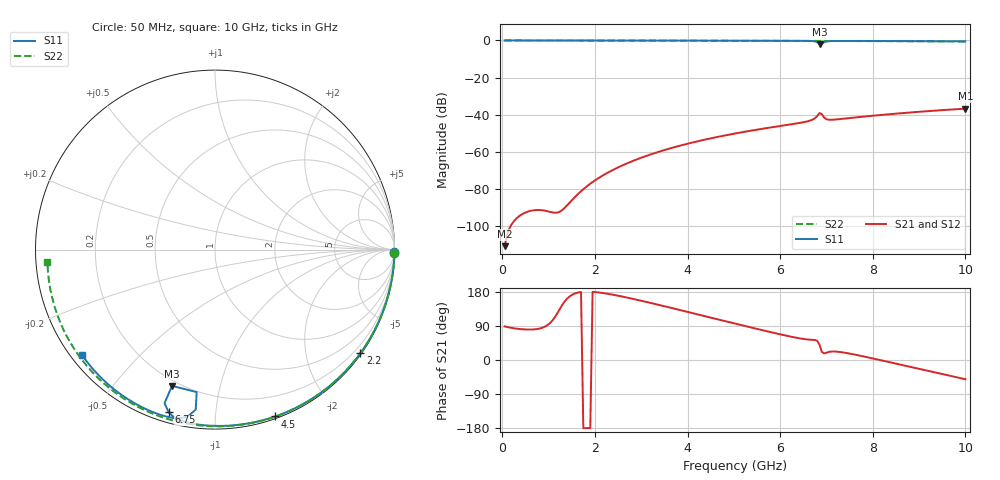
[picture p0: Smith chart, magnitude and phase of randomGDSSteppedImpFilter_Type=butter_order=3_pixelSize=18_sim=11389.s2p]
! freq	dB(S11)	phase(S11)	dB(S12)	phase(S12)
!  dB(S21)	phase(S21)	dB(S22)	phase(S22)
!S-par simulation data
#  GHz  S  DB  R 50
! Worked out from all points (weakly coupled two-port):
!   200 points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, 50 MHz to 10 GHz, reference 50 ohm
!   highest |S21| = -36.81 dB at 10 GHz (marker M1); lowest = -111.0 dB at 50 MHz (marker M2)
!   lowest |S11| = -2.0 dB at 6.85 GHz (marker M3), VSWR 8.81, Z = 8.66 - j35.9 ohm
!   |S11| at or under -10 dB: nowhere
!   |S22| runs from -0.6 to 0.0 dB; largest |S21 - S12| = 0
!   S11 on the Smith chart (normalised r, x): 50 MHz: open; 2.2 GHz: 0.03, -3.13; 4.5 GHz: 0.02, -1.42; 6.75 GHz: 0.05, -0.75; 10 GHz: 0.03, -0.35
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0.05  -0.00 -0.8  -111.02 88.6  -111.02 88.6  -0.00 -1.0
0.85  -0.02 -13.9  -91.61 84.5  -91.61 84.5  -0.02 -17.1
1.75  -0.04 -28.3  -80.28 -179.9  -80.28 -179.9  -0.04 -34.8
2.2  -0.05 -35.5  -72.44 176.2  -72.44 176.2  -0.06 -43.4
2.75  -0.06 -44.0  -65.73 163.3  -65.73 163.3  -0.07 -53.8
3.4  -0.07 -53.9  -59.91 144.9  -59.91 144.9  -0.09 -65.8
4.5  -0.10 -70.2  -52.84 111.9  -52.84 111.9  -0.12 -85.3
5.05  -0.12 -78.1  -50.10 95.4  -50.10 95.4  -0.15 -94.7
6.1  -0.17 -93.0  -45.77 65.1  -45.77 65.1  -0.20 -112.0
6.5  -0.22 -99.4  -44.14 55.6  -44.14 55.6  -0.22 -118.5
6.7  -0.36 -104.0  -42.73 53.2  -42.73 53.2  -0.24 -121.8
6.75  -0.51 -105.9  -41.99 52.8  -41.99 52.8  -0.24 -122.6
6.8  -0.91 -108.2  -40.77 50.7  -40.77 50.7  -0.24 -123.4
6.85  -1.98 -107.5  -39.20 40.2  -39.20 40.2  -0.25 -124.2
6.9  -1.93 -97.3  -39.77 21.5  -39.77 21.5  -0.25 -125.0
6.95  -0.94 -96.9  -41.64 17.2  -41.64 17.2  -0.25 -125.8
7  -0.56 -99.0  -42.52 19.4  -42.52 19.4  -0.26 -126.6
7.1  -0.35 -102.1  -42.82 22.3  -42.82 22.3  -0.27 -128.2
7.5  -0.27 -109.2  -41.88 17.0  -41.88 17.0  -0.30 -134.6
8.35  -0.32 -120.7  -39.83 -5.4  -39.83 -5.4  -0.38 -148.2
9.2  -0.40 -131.6  -38.13 -28.9  -38.13 -28.9  -0.47 -162.1
10  -0.49 -141.8  -36.81 -50.7  -36.81 -50.7  -0.57 -175.7
